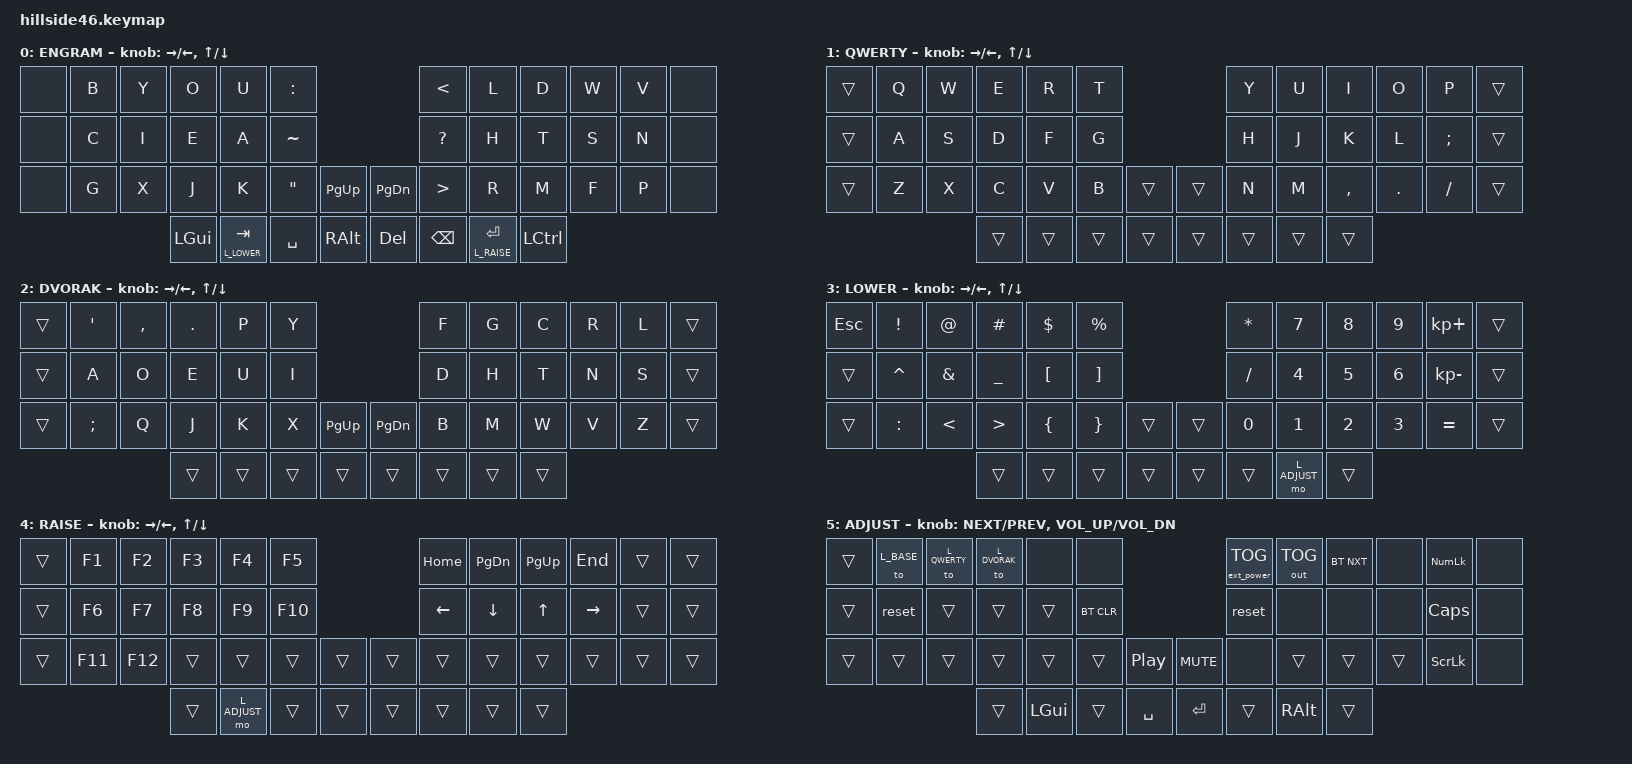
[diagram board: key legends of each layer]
/*
 * Copyright (c) 2022 The ZMK Contributors
 *
 * SPDX-License-Identifier: MIT
 */

#include <behaviors.dtsi>
#include <dt-bindings/zmk/bt.h>
#include <dt-bindings/zmk/keys.h>
#include <dt-bindings/zmk/ext_power.h>
#include <dt-bindings/zmk/keys.h>
#include <dt-bindings/zmk/outputs.h>

#define L_BASE 0
#define L_QWERTY 1
#define L_DVORAK 2
#define L_LOWER 3
#define L_RAISE 4
#define L_ADJUST 5

#define _______ &trans

#define Undo   LC(Z)
#define Cut    LC(X)
#define Copy   LC(C)
#define Paste  LC(V)

/ {
  combos {
    compatible = "zmk,combos";
    timeout-ms = <2>;
    grave {
      key-positions = <1 13>;
      bindings = <&kp GRAVE>;
    };
    combo_esc {
      key-positions = <2 14>;
      bindings = <&kp ESC>;
    };
    forward_slash {
      key-positions = <9 21>;
      bindings = <&kp FSLH>;
    };
    back_slash {
      key-positions = <10 22>;
      bindings = <&kp BSLH>;
    };
    lpar {
      key-positions = <26 28>;
      bindings = <&kp LPAR>;
    };

    z {
      key-positions = <26 27>;
      bindings = <&kp Z>;
    };
    quot {
      key-positions = <27 28>;
      bindings = <&kp APOS>;
    };
    semi {
      key-positions = <4 16>;
      bindings = <&kp SEMI>;
    };

    lshift {
      key-positions = <3 15>;
      bindings = <&skq LSHIFT>;
    };
    rshift {
      key-positions = <8 20>;
      bindings = <&skq RSHIFT>;
    }; 
    rpar {
      key-positions = <33 35>;
      bindings = <&kp RPAR>;
    };
     
    comm {
      key-positions = <7 19>;
      bindings = <&kp COMMA>;
    };
     
    dot {
      key-positions = <33 34>;
      bindings = <&kp DOT>;
    };

    q {
      key-positions = <34 35>;
      bindings = <&kp Q>;
    };

    combo_cw {
      key-positions = <28 33>;
      bindings = <&caps_word>;
    };
  };

  behaviors {
    skq: sticky_key_quick_release {
      compatible = "zmk,behavior-sticky-key";
      label = "STICKY_KEY_QUICK_RELEASE";
      #binding-cells = <1>;
      bindings = <&kp>;
      release-after-ms = <1000>;
      quick-release;
    }; 
    tdlg: tap_dance_less_greater {
      compatible = "zmk,behavior-tap-dance";
      label = "TAP_DANCE_1";
      #binding-cells = <0>;
      tapping-term-ms = <225>;
      bindings = <&kp LT>, <&kp GT>;
    };
    tdbk: tap_dance_brakets {
      compatible = "zmk,behavior-tap-dance";
      label = "TAP_DANCE_BRAKETS";
      #binding-cells = <0>;
      tapping-term-ms = <225>;
      bindings = <&kp LBKT>, <&kp RBKT>;
    };
    tdbc: tap_dance_braces {
      compatible = "zmk,behavior-tap-dance";
      label = "TAP_DANCE_BRACES";
      #binding-cells = <0>;
      tapping-term-ms = <225>;
      bindings = <&kp LBRC>, <&kp RBRC>;
    };
  };
};

&lt {
  tapping-term-ms = <150>;
  quick-tap-ms = <200>;
};

&caps_word {
  continue-list = <UNDERSCORE BACKSPACE>;
};

/ {
  keymap {
    compatible = "zmk,keymap";
    default_layer {
      label = "ENGRAM";
      bindings = <
&none  &kp B    &kp Y    &kp O    &kp U    &kp COLON                                     &kp LT     &kp L    &kp D     &kp W    &kp V    &none
&none  &kp C    &kp I    &kp E    &kp A    &kp TILDE                                     &kp QMARK  &kp H    &kp T     &kp S    &kp N    &none
&none  &kp G    &kp X    &kp J    &kp K    &kp DQT         &kp PG_UP  &kp PG_DN          &kp GT     &kp R    &kp M     &kp F    &kp P    &none
                     &kp LGUI &lt L_LOWER TAB  &kp SPC &kp RALT        &kp DEL &kp BSPC &lt L_RAISE ENTER &kp LCTRL  
      >;
      sensor-bindings = <&inc_dec_kp RIGHT LEFT &inc_dec_kp UP DOWN>;
    };

    qwerty_layer {
      label = "QWERTY";
      bindings = <
_______  &kp Q    &kp W    &kp E    &kp R    &kp T                                     &kp Y    &kp U    &kp I     &kp O    &kp P    _______
_______  &kp A    &kp S    &kp D    &kp F    &kp G                                     &kp H    &kp J    &kp K     &kp L    &kp SEMI _______
_______  &kp Z    &kp X    &kp C    &kp V    &kp B            _______ _______          &kp N    &kp M    &kp COMMA &kp DOT  &kp FSLH _______
                        _______ _______ _______ _______              _______ _______ _______ _______ 
      >;
      sensor-bindings = <&inc_dec_kp RIGHT LEFT &inc_dec_kp UP DOWN>;
    };

    dvorak_layer {
      label =  "DVORAK";
      bindings = <

_______       &kp APOS    &kp COMMA &kp DOT    &kp P    &kp Y                                           &kp F    &kp G    &kp C    &kp R    &kp L _______
_______       &kp A       &kp O     &kp E      &kp U    &kp I                                           &kp D    &kp H    &kp T    &kp N    &kp S _______
_______       &kp SEMI    &kp Q     &kp J      &kp K    &kp X &kp PG_UP                     &kp PG_DN   &kp B    &kp M    &kp W    &kp V    &kp Z _______
                        _______ _______ _______ _______              _______ _______ _______ _______ 
      >;
      sensor-bindings = <&inc_dec_kp RIGHT LEFT &inc_dec_kp UP DOWN>;
    };

    lower_layer {
      label ="LOWER";
      bindings = <
&kp ESC   &kp EXCL  &kp AT     &kp HASH  &kp DLLR  &kp PRCNT                                    &kp STAR  &kp N7    &kp N8    &kp N9    &kp KP_PLUS   _______
_______   &kp CARET &kp AMPS   &kp UNDER &kp LBKT  &kp RBKT                                     &kp SLASH &kp N4    &kp N5    &kp N6    &kp KP_MINUS  _______
_______   &kp COLON &kp LT     &kp GT    &kp LBRC  &kp RBRC                _______ _______      &kp N0    &kp N1    &kp N2    &kp N3    &kp EQUAL     _______
                                _______ _______ _______ _______                  _______    _______ &mo L_ADJUST _______ 
      >;
      sensor-bindings = <&inc_dec_kp RIGHT LEFT &inc_dec_kp UP DOWN>;
    };

    raise_layer {
      label = "RAISE";
      bindings = <
_______ &kp F1  &kp F2  &kp F3  &kp F4  &kp F5                                   &kp HOME &kp PG_DN &kp PG_UP &kp END     _______ _______  
_______ &kp F6  &kp F7  &kp F8  &kp F9  &kp F10                                  &kp LEFT &kp DOWN  &kp UP    &kp RIGHT   _______ _______
_______ &kp F11 &kp F12 _______ _______ _______           _______ _______        _______  _______   _______   _______     _______ _______
                          _______  &mo L_ADJUST  _______  _______           _______ _______ _______ _______ 
      >;
      sensor-bindings = <&inc_dec_kp RIGHT LEFT &inc_dec_kp UP DOWN>;
    };
    
    adjust_layer {
      label = "ADJUST";
      bindings = <
_______ &to L_BASE &to L_QWERTY &to L_DVORAK  &none     &none                         &ext_power EP_TOG &out OUT_TOG  &bt BT_NXT   &none     &kp KP_NUM   &none
_______ &reset       _______    _______       _______   &bt BT_CLR                    &reset            &none         &none        &none     &kp CAPS     &none
_______ _______      _______    _______       _______   _______ &kp C_PP   &kp C_MUTE &none             _______       _______      _______   &kp SLCK     &none
                                      _______ &kp LGUI _______  &kp SPC   &kp ENTER _______ &kp RALT _______ 
      >;
      sensor-bindings = <&inc_dec_kp C_NEXT C_PREV &inc_dec_kp C_VOL_UP C_VOL_DN>;
    };
  };
};


